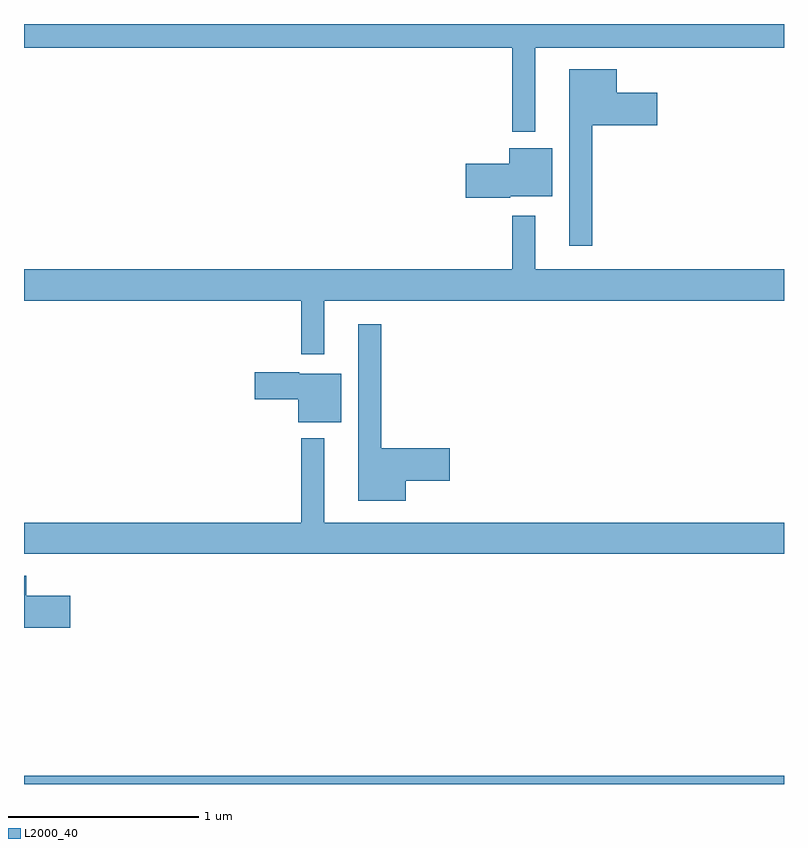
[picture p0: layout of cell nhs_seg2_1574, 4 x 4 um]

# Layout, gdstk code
import gdstk
lib = gdstk.Library(unit=1e-6, precision=1e-09)
def R(c, l, rs):  # rectangles x0, y0, x1, y1
    for r in rs: c.add(gdstk.rectangle(r[:2], r[2:], *l))
def P(c, l, *ps):  # polygons
    for p in ps: c.add(gdstk.Polygon(p, *l))
L2000_40 = (2000, 40)

nhs_seg2_1574 = lib.new_cell('nhs_seg2_1574')
R(nhs_seg2_1574, L2000_40, [(193,603.8,197,603.844)])
P(nhs_seg2_1574, L2000_40, [(195.691,607.676),(197,607.676),(197,607.8),(193,607.8),(193,607.676),(195.57,607.676),(195.57,607.232),(195.691,607.232)],
  [(195.991,607.268),(196.333,607.268),(196.333,607.438),(196.12,607.438),(196.12,607.561),(195.869,607.561),(195.869,606.633),(195.991,606.633)],
  [(195.558,606.893),(195.781,606.893),(195.781,607.147),(195.554,607.147),(195.554,607.064),(195.324,607.064),(195.324,606.886),(195.558,606.886)],
  [(195.57,606.79),(195.57,606.508),(193,606.508),(193,606.344),(194.46,606.344),(194.46,606.063),(194.581,606.063),(194.581,606.344),(197,606.344),(197,606.508),(195.691,606.508),(195.691,606.79)],
  [(195.01,605.396),(195.241,605.396),(195.241,605.567),(194.881,605.567),(194.881,606.22),(194.759,606.22),(194.759,605.291),(195.01,605.291)],
  [(194.671,605.959),(194.448,605.959),(194.448,605.967),(194.214,605.967),(194.214,605.825),(194.444,605.825),(194.444,605.705),(194.671,605.705)],
  [(197,605.176),(194.581,605.176),(194.581,605.62),(194.46,605.62),(194.46,605.176),(193,605.176),(193,605.012),(197,605.012)],
  [(193.243,604.792),(193.012,604.792),(193.012,604.897),(193,604.897),(193,604.622),(193.243,604.622)])

lib.write_gds('nhs_seg2_1574.gds')
